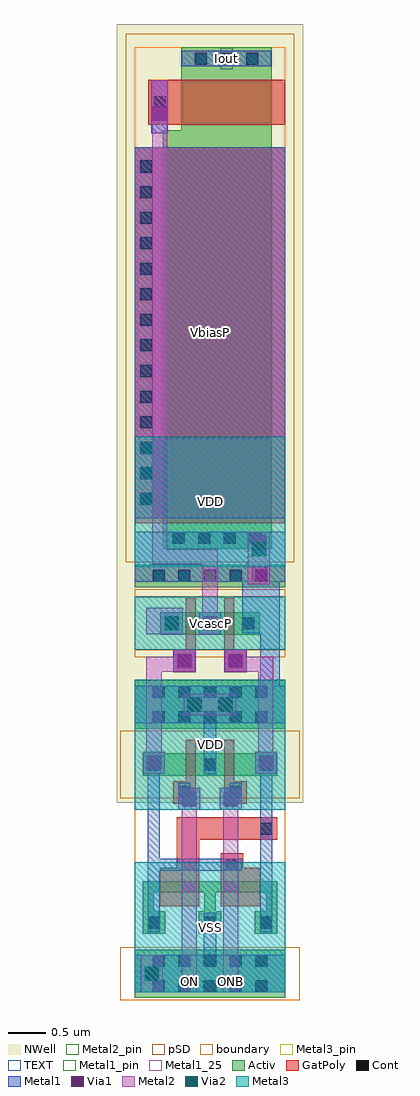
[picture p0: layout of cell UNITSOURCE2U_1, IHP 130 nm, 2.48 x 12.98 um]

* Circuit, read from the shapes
.subckt UNITSOURCE2U_1 Iout ON ONB VDD VSS VbiasP VcascP
XM1 VSS CASCODEDRIVE_1/NONOVERLAP_1/OUTP CASCODEDRIVE_1/NONOVERLAP_1/OUTN VSS sg13_lv_nmos w=0.15u l=0.52u
XM2 CASCODEDRIVE_1/NONOVERLAP_1/OUTP CASCODEDRIVE_1/NONOVERLAP_1/OUTN VSS VSS sg13_lv_nmos w=0.15u l=0.52u
XM3 n1 VbiasP VDD VDD sg13_lv_pmos w=1.45u l=5u
XM4 Iout PCSOURCE2U_0/VcascodeP n1 VDD sg13_lv_pmos w=1.2u l=0.6u
XM5 VDD ON CASCODEDRIVE_1/NONOVERLAP_1/OUTN VDD sg13_lv_pmos w=0.3u l=0.13u
XM6 PCSOURCE2U_0/VcascodeP CASCODEDRIVE_1/NONOVERLAP_1/OUTN VcascP VDD sg13_lv_pmos w=0.3u l=0.13u
XM7 CASCODEDRIVE_1/NONOVERLAP_1/OUTP ONB VDD VDD sg13_lv_pmos w=0.3u l=0.13u
XM8 VDD CASCODEDRIVE_1/NONOVERLAP_1/OUTP PCSOURCE2U_0/VcascodeP VDD sg13_lv_pmos w=0.3u l=0.13u
.ends

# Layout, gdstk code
from math import pi, radians
import gdstk
lib = gdstk.Library(unit=1e-6, precision=1e-09)
def R(c, l, rs):  # rectangles x0, y0, x1, y1
    for r in rs: c.add(gdstk.rectangle(r[:2], r[2:], *l))
def A(c, l, x, y, w, h, nx, ny, dx, dy):  # array of equal rectangles
    R(c, l, [(x+i*dx, y+j*dy, x+i*dx+w, y+j*dy+h) for i in range(nx) for j in range(ny)])
Activ = (1, 0)
GatPoly = (5, 0)
Cont = (6, 0)
Metal1 = (8, 0)
Metal1_pin = (8, 2)
Metal1_25 = (8, 25)
Metal2 = (10, 0)
Metal2_pin = (10, 2)
pSD = (14, 0)
Via1 = (19, 0)
Via2 = (29, 0)
Metal3 = (30, 0)
Metal3_pin = (30, 2)
NWell = (31, 0)
TEXT = (63, 0)
boundary = (189, 4)

feol_contacts_4_1 = lib.new_cell('FEOL$contacts$4$1')
A(feol_contacts_4_1, Cont, 0.175, 0, 0.16, 0.16, 14, 1, 0.34, 0)
R(feol_contacts_4_1, Metal1, [(0,0,4.93,0.16)])

feol_contacts_7_1 = lib.new_cell('FEOL$contacts$7$1')
A(feol_contacts_7_1, Cont, 0.135, 0, 0.16, 0.16, 4, 1, 0.34, 0)
R(feol_contacts_7_1, Metal1, [(0,0,1.45,0.16)])

feol_contacts_5_1 = lib.new_cell('FEOL$contacts$5$1')
A(feol_contacts_5_1, Cont, 0.2, 0, 0.16, 0.16, 5, 1, 0.34, 0)
R(feol_contacts_5_1, Metal1, [(0,0,1.92,0.16)])

feol_contacts_6_1 = lib.new_cell('FEOL$contacts$6$1')
A(feol_contacts_6_1, Cont, 0.16, 0, 0.16, 0.16, 3, 1, 0.34, 0)
R(feol_contacts_6_1, Metal1, [(0,0,1.16,0.16)])

feol_contacts_1_2 = lib.new_cell('FEOL$contacts$1$2')
R(feol_contacts_1_2, Cont, [(0.18,0,0.34,0.16)])
R(feol_contacts_1_2, Metal1, [(0,0,0.52,0.16)])

pcsource2u = lib.new_cell('PCSOURCE2U')
R(pcsource2u, Activ, [(-1,-6.3,1,-6), (-0.63,-5.79,0.82,-0.22), (-0.38,-0.38,0.82,0.88)])
R(pcsource2u, GatPoly, [(-1,-5.45,1,-0.45), (-0.82,-0.15,1,0.45)])
R(pcsource2u, Metal1, [(-1,-6.23,1,-5.56), (-1,-5.38,1,-0.45), (-0.78,-0.265,-0.56,0.445), (-0.375,0.625,0.815,0.835)])
R(pcsource2u, Metal1_pin, [(-1,-6.23,1,-5.56), (-1,-5.38,1,-0.45)])
R(pcsource2u, Metal1_25, [(-0.375,0.625,0.815,0.835)])
R(pcsource2u, Metal2, [(-0.78,-0.145,-0.56,0.445)])
R(pcsource2u, Metal2_pin, [(-0.775,-0.145,-0.565,0.445)])
R(pcsource2u, pSD, [(-1.12,-5.97,1.12,1.06)])
R(pcsource2u, Via1, [(-0.765,-0.095,-0.575,0.095)])
R(pcsource2u, NWell, [(-1.24,-6.54,1.24,1.19)])
R(pcsource2u, TEXT, [(0.14,0.585,0.3,0.875), (0.125,0.635,0.315,0.825)])
R(pcsource2u, boundary, [(-1,-6.3,1,0.88)])
pcsource2u.add(gdstk.Reference(feol_contacts_4_1, (-0.77,-5.38), rotation=pi/2))
pcsource2u.add(gdstk.Reference(feol_contacts_7_1, (-0.63,-5.72)))
pcsource2u.add(gdstk.Reference(feol_contacts_5_1, (-0.96,-6.23)))
pcsource2u.add(gdstk.Reference(feol_contacts_6_1, (-0.36,0.65)))
pcsource2u.add(gdstk.Reference(feol_contacts_1_2, (-0.59,-0.11), rotation=pi/2))
pcsource2u.add(gdstk.Label('VbiasP', (0,-2.915), layer=8, texttype=25))
pcsource2u.add(gdstk.Label('VDD', (0,-5.895), layer=8, texttype=25))
pcsource2u.add(gdstk.Label('Iout', (0.22,0.73), layer=8, texttype=25))
pcsource2u.add(gdstk.Label('VcascodeP', (-0.67,0), layer=10, texttype=25))

feol_contacts_9_1 = lib.new_cell('FEOL$contacts$9$1')
R(feol_contacts_9_1, Cont, [(0.05,0,0.21,0.16)])
R(feol_contacts_9_1, Metal1, [(0,0,0.26,0.16)])

via_stack_2_1 = lib.new_cell('via_stack$2$1')
R(via_stack_2_1, Metal1, [(-0.145,-0.145,0.145,0.145)])
R(via_stack_2_1, Metal2, [(-0.145,-0.145,0.145,0.145)])
R(via_stack_2_1, Via1, [(-0.095,-0.095,0.095,0.095)])

via_stack_3 = lib.new_cell('via_stack$3')
R(via_stack_3, Metal1, [(-0.145,-0.145,0.145,0.145)])
R(via_stack_3, Metal2, [(-0.145,-0.145,0.145,0.145)])
R(via_stack_3, Via1, [(-0.095,-0.095,0.095,0.095)])
R(via_stack_3, Via2, [(-0.095,-0.095,0.095,0.095)])
R(via_stack_3, Metal3, [(-0.145,-0.145,0.145,0.145)])

dac_sw = lib.new_cell('DAC_SW')
R(dac_sw, Activ, [(-0.66,-0.15,0.66,0.15)])
R(dac_sw, GatPoly, [(-0.49,-0.65,-0.19,-0.35), (0.19,-0.65,0.49,-0.35), (-0.32,-0.375,-0.19,0.33), (0.19,-0.375,0.32,0.33)])
A(dac_sw, Cont, -0.59, -0.08, 0.16, 0.16, 3, 1, 0.51, 0)
A(dac_sw, Metal1, -0.59, -0.13, 0.16, 0.26, 3, 1, 0.51, 0)
R(dac_sw, Metal1, [(-0.49,-0.65,-0.19,-0.35), (0.19,-0.65,0.49,-0.35), (-0.66,-0.15,-0.36,0.15), (-0.15,-0.15,0.15,0.15)])
R(dac_sw, Metal2, [(-0.845,-0.145,-0.365,0.205)])
R(dac_sw, pSD, [(-1,-0.45,1,0.45)])
R(dac_sw, NWell, [(-1,-0.5,1,0.5)])
R(dac_sw, boundary, [(-1,-0.36,1,0.36)])
dac_sw.add(gdstk.FlexPath([(0.43,0),(0.8,0),(0.8,-0.985)], 0.26, ends="flush", simple_path=True, layer=8, datatype=0))  # Metal1
dac_sw.add(gdstk.FlexPath([(-0.745,-1.95),(-0.745,-0.545),(-0.24,-0.545)], 0.2, ends="flush", simple_path=True, layer=10, datatype=0))  # Metal2
dac_sw.add(gdstk.FlexPath([(0.74,-1.95),(0.74,-0.545),(0.24,-0.545)], 0.2, ends="flush", simple_path=True, layer=10, datatype=0))  # Metal2
dac_sw.add(gdstk.Reference(feol_contacts_9_1, (-0.26,-0.63), rotation=pi/2))
dac_sw.add(gdstk.Reference(feol_contacts_9_1, (0.42,-0.63), rotation=pi/2))
dac_sw.add(gdstk.Reference(via_stack_2_1, (-0.34,-0.5)))
dac_sw.add(gdstk.Reference(via_stack_3, (-0.51,0)))
dac_sw.add(gdstk.Reference(via_stack_2_1, (0.34,-0.5)))
dac_sw.add(gdstk.Reference(via_stack_2_1, (0,0)))

feol_contacts_3_2_1 = lib.new_cell('FEOL$contacts$3$2$1')
A(feol_contacts_3_2_1, Cont, 0.2, 0, 0.16, 0.16, 5, 2, 0.34, 0.34)
R(feol_contacts_3_2_1, Metal1, [(0,0,1.92,0.5)])

feol_contacts_1_1_1 = lib.new_cell('FEOL$contacts$1$1$1')
R(feol_contacts_1_1_1, Cont, [(0.05,0,0.21,0.16)])
R(feol_contacts_1_1_1, Metal1, [(0,0,0.26,0.16)])

via_stack_1_1_1 = lib.new_cell('via_stack$1$1$1')
R(via_stack_1_1_1, Metal1, [(-0.145,-0.145,0.145,0.145)])
R(via_stack_1_1_1, Metal2, [(-0.145,-0.145,0.145,0.145)])
R(via_stack_1_1_1, Via1, [(-0.095,-0.095,0.095,0.095)])

nonoverlap = lib.new_cell('NONOVERLAP')
A(nonoverlap, Activ, -0.895, -2.25, 0.3, 0.3, 3, 1, 0.745, 0)
R(nonoverlap, Activ, [(-1,-3.1,1,-2.46), (-0.895,-1.7,0.895,-1.55), (-0.895,-0.15,0.895,0.15), (-1,0.48,1,1.12)])
R(nonoverlap, GatPoly, [(-0.665,-1.88,-0.145,-1.37), (0.145,-1.88,0.665,-1.37), (0.145,-1.48,0.445,-1.18), (0.595,-1,0.895,-0.7), (-0.49,-0.52,-0.19,-0.22), (0.19,-0.52,0.49,-0.22), (-0.32,-0.33,-0.19,0.33), (0.19,-0.33,0.32,0.33)])
R(nonoverlap, Metal1, [(-1,-3.03,1,-2.53), (-1,0.55,1,1.05), (-1,0.55,1,1.05)])
R(nonoverlap, Metal1_pin, [(-1,-3.03,1,-2.53), (-1,0.55,1,1.05)])
R(nonoverlap, Metal2_pin, [(-0.42,-0.6,-0.13,-0.31), (0.13,-0.6,0.42,-0.31), (-0.89,-0.12,-0.6,0.17), (0.6,-0.12,0.89,0.17)])
R(nonoverlap, pSD, [(-1.195,-3.13,1.195,-2.43), (-1.195,-0.45,1.195,0.45)])
R(nonoverlap, NWell, [(-1.24,-0.505,1.24,1.44)])
R(nonoverlap, boundary, [(-1,-3.1,1,1.12)])
nonoverlap.add(gdstk.FlexPath([(0.38,-1.33),(-0.745,-1.33)], 0.16, ends="flush", simple_path=True, layer=8, datatype=0))  # Metal1
nonoverlap.add(gdstk.FlexPath([(-0.745,-2.02),(-0.745,-0.08)], 0.16, ends="flush", simple_path=True, layer=8, datatype=0))  # Metal1
nonoverlap.add(gdstk.FlexPath([(0.745,-2.02),(0.745,-0.08)], 0.16, ends="flush", simple_path=True, layer=8, datatype=0))  # Metal1
nonoverlap.add(gdstk.FlexPath([(0,-2.02),(0,-2.69)], 0.16, ends="flush", simple_path=True, layer=8, datatype=0))  # Metal1
nonoverlap.add(gdstk.FlexPath([(0,0.71),(0,-0.08)], 0.16, ends="flush", simple_path=True, layer=8, datatype=0))  # Metal1
nonoverlap.add(gdstk.FlexPath([(0,-1.63),(0,-2.18)], 0.15, ends="flush", simple_path=True, layer=1, datatype=0))  # Activ
nonoverlap.add(gdstk.FlexPath([(0.82,-1.635),(0.82,-2.18)], 0.15, ends="flush", simple_path=True, layer=1, datatype=0))  # Activ
nonoverlap.add(gdstk.FlexPath([(-0.82,-1.63),(-0.82,-2.18)], 0.15, ends="flush", simple_path=True, layer=1, datatype=0))  # Activ
nonoverlap.add(gdstk.FlexPath([(-0.295,-1.475),(-0.295,-0.85),(0.745,-0.85)], 0.3, ends="flush", simple_path=True, layer=5, datatype=0))  # GatPoly
nonoverlap.add(gdstk.Reference(feol_contacts_3_2_1, (-0.96,0.55)))
nonoverlap.add(gdstk.Reference(feol_contacts_1_1_1, (0.825,-0.13), rotation=pi/2))
nonoverlap.add(gdstk.Reference(feol_contacts_1_1_1, (0.08,-0.13), rotation=pi/2))
nonoverlap.add(gdstk.Reference(feol_contacts_1_1_1, (-0.665,-0.13), rotation=pi/2))
nonoverlap.add(gdstk.Reference(feol_contacts_1_1_1, (-0.26,-0.5), rotation=pi/2))
nonoverlap.add(gdstk.Reference(feol_contacts_1_1_1, (0.42,-0.5), rotation=pi/2))
nonoverlap.add(gdstk.Reference(feol_contacts_1_1_1, (-0.665,-2.23), rotation=pi/2))
nonoverlap.add(gdstk.Reference(feol_contacts_1_1_1, (0.165,-1.41)))
nonoverlap.add(gdstk.Reference(feol_contacts_1_1_1, (0.825,-2.23), rotation=pi/2))
nonoverlap.add(gdstk.Reference(feol_contacts_1_1_1, (0.08,-2.23), rotation=pi/2))
nonoverlap.add(gdstk.Reference(feol_contacts_3_2_1, (-0.96,-3.03)))
nonoverlap.add(gdstk.Reference(via_stack_1_1_1, (0.275,-0.455)))
nonoverlap.add(gdstk.Reference(via_stack_1_1_1, (-0.275,-0.455)))
nonoverlap.add(gdstk.Reference(via_stack_1_1_1, (0.745,0.025)))
nonoverlap.add(gdstk.Reference(via_stack_1_1_1, (-0.745,0.025)))
nonoverlap.add(gdstk.Reference(feol_contacts_1_1_1, (0.825,-0.98), rotation=pi/2))
nonoverlap.add(gdstk.Label('VSS', (0,-2.78), layer=8, texttype=25))
nonoverlap.add(gdstk.Label('VDD', (0,0.8), layer=8, texttype=25))
nonoverlap.add(gdstk.Label('OUTN', (-0.745,0.025), layer=10, texttype=25))
nonoverlap.add(gdstk.Label('INP', (-0.275,-0.455), layer=10, texttype=25))
nonoverlap.add(gdstk.Label('OUTP', (0.745,0.025), layer=10, texttype=25))
nonoverlap.add(gdstk.Label('INN', (0.275,-0.455), layer=10, texttype=25))

cascodedrive = lib.new_cell('CASCODEDRIVE')
cascodedrive.add(gdstk.Reference(dac_sw, (0,0)))
cascodedrive.add(gdstk.Reference(nonoverlap, (0,-1.88)))

via_stack_7_1_1 = lib.new_cell('via_stack$7$1$1')
R(via_stack_7_1_1, Metal1, [(-0.145,-0.35,0.145,0.35)])
R(via_stack_7_1_1, Metal2, [(-0.145,-0.35,0.145,0.35)])
R(via_stack_7_1_1, Via1, [(-0.095,-0.3,0.095,-0.11), (-0.095,0.11,0.095,0.3)])

via_stack_4_1 = lib.new_cell('via_stack$4$1')
R(via_stack_4_1, Metal1, [(-0.35,-0.145,0.35,0.145)])
R(via_stack_4_1, Metal2, [(-0.35,-0.145,0.35,0.145)])
R(via_stack_4_1, Via1, [(-0.3,-0.095,-0.11,0.095), (0.11,-0.095,0.3,0.095)])
R(via_stack_4_1, Via2, [(-0.3,-0.095,-0.11,0.095), (0.11,-0.095,0.3,0.095)])
R(via_stack_4_1, Metal3, [(-0.35,-0.145,0.35,0.145)])

via_stack_6_2_1 = lib.new_cell('via_stack$6$2$1')
R(via_stack_6_2_1, Metal2, [(-0.145,-0.145,0.145,0.145)])
R(via_stack_6_2_1, Via2, [(-0.095,-0.095,0.095,0.095)])
R(via_stack_6_2_1, Metal3, [(-0.145,-0.145,0.145,0.145)])

via_stack_9_1 = lib.new_cell('via_stack$9$1')
R(via_stack_9_1, Metal1, [(-0.145,-0.145,0.145,0.145)])
R(via_stack_9_1, Metal2, [(-0.145,-0.145,0.145,0.145)])
R(via_stack_9_1, Via1, [(-0.095,-0.095,0.095,0.095)])
R(via_stack_9_1, Via2, [(-0.095,-0.095,0.095,0.095)])
R(via_stack_9_1, Metal3, [(-0.145,-0.145,0.145,0.145)])

unitsource2u_1 = lib.new_cell('UNITSOURCE2U_1')
R(unitsource2u_1, Metal1, [(0.43,-0.13,0.93,0.71)])
R(unitsource2u_1, Metal1_pin, [(-1,0.55,1,1.22), (-1,1.4,1,6.33), (-0.375,7.405,0.815,7.615)])
R(unitsource2u_1, Metal2, [(-0.92,-4.91,-0.63,-4.41)])
R(unitsource2u_1, Metal2_pin, [(-0.375,-4.91,-0.175,-4.62), (0.175,-4.91,0.375,-4.62)])
R(unitsource2u_1, Metal3, [(-1,-4.91,1,-3.18), (-1,-2.48,1,-0.75), (-1,0.75,1,2.48)])
R(unitsource2u_1, Metal3_pin, [(-1,-4.91,1,-3.18), (-1,-2.48,1,-0.75), (-1,-0.35,1,0.35), (-1,0.75,1,2.48)])
R(unitsource2u_1, NWell, [(-1.24,-2.385,1.24,7.97)])
unitsource2u_1.add(gdstk.FlexPath([(-0.275,-4.91),(-0.275,-2.19)], 0.2, ends="flush", simple_path=True, layer=10, datatype=0))  # Metal2
unitsource2u_1.add(gdstk.FlexPath([(0.275,-4.91),(0.275,-2.19)], 0.2, ends="flush", simple_path=True, layer=10, datatype=0))  # Metal2
unitsource2u_1.add(gdstk.FlexPath([(-0.67,6.685),(-0.67,0.885),(0,0.885),(0,0.095)], 0.2, ends="flush", simple_path=True, layer=10, datatype=0))  # Metal2
unitsource2u_1.add(gdstk.FlexPath([(-1,0),(1,0)], 0.7, ends="flush", simple_path=True, layer=30, datatype=0))  # Metal3
unitsource2u_1.add(gdstk.Reference(pcsource2u, (0,6.78)))
unitsource2u_1.add(gdstk.Reference(cascodedrive, (0,0)))
unitsource2u_1.add(gdstk.Reference(via_stack_7_1_1, (0.65,0.87)))
unitsource2u_1.add(gdstk.Reference(via_stack_4_1, (0,-1.08)))
unitsource2u_1.add(gdstk.Reference(via_stack_6_2_1, (0.65,0.985)))
unitsource2u_1.add(gdstk.Reference(via_stack_9_1, (-0.775,-4.66)))
unitsource2u_1.add(gdstk.Label('VDD', (0,1.615), layer=30, texttype=0))
unitsource2u_1.add(gdstk.Label('VbiasP', (0,3.865), layer=8, texttype=25))
unitsource2u_1.add(gdstk.Label('Iout', (0.22,7.51), layer=8, texttype=25))
unitsource2u_1.add(gdstk.Label('ON', (-0.275,-4.765), layer=10, texttype=25))
unitsource2u_1.add(gdstk.Label('ONB', (0.275,-4.765), layer=10, texttype=25))
unitsource2u_1.add(gdstk.Label('VSS', (0,-4.045), layer=30, texttype=25))
unitsource2u_1.add(gdstk.Label('VDD', (0,-1.615), layer=30, texttype=25))
unitsource2u_1.add(gdstk.Label('VcascP', (0,0), layer=30, texttype=25))

lib.write_gds('UNITSOURCE2U_1.gds')
